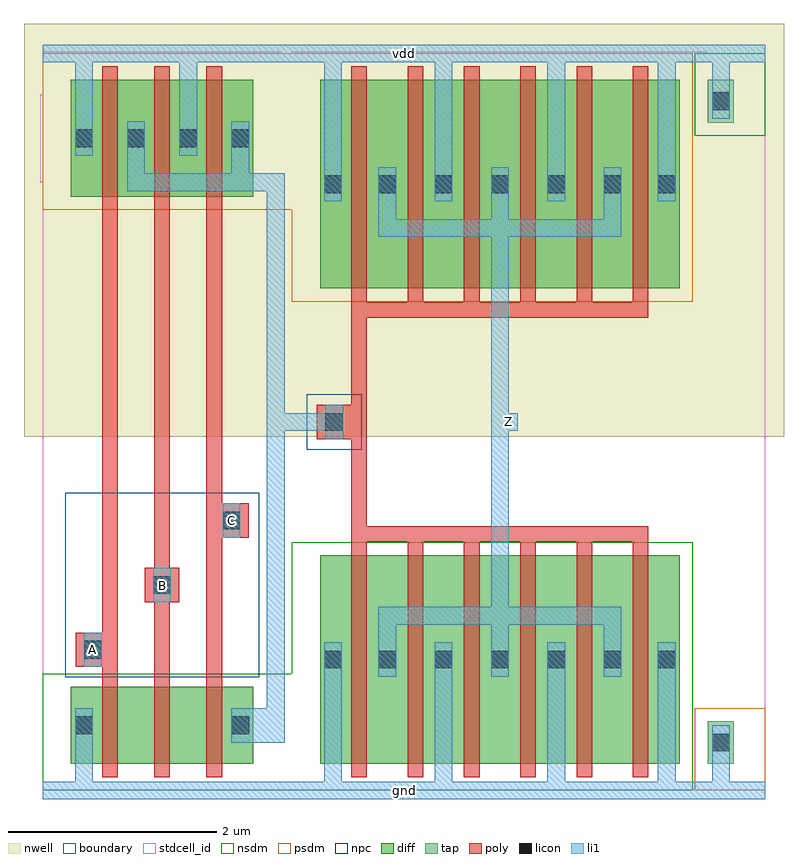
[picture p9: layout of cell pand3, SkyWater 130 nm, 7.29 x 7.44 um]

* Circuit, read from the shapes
.subckt pand3 A B C Z gnd vdd
XM1 pnand3_0/nmos_m1_w0_740_sli_dactive_3/D A gnd gnd sky130_fd_pr__nfet_01v8 w=0.74 l=0.15
XM2 pnand3_0/nmos_m1_w0_740_sactive_dactive_4/D B pnand3_0/nmos_m1_w0_740_sli_dactive_3/D gnd sky130_fd_pr__nfet_01v8 w=0.74 l=0.15
XM3 pdriver_2_1/A C pnand3_0/nmos_m1_w0_740_sactive_dactive_4/D gnd sky130_fd_pr__nfet_01v8 w=0.74 l=0.15
XM4 Z pdriver_2_1/A gnd gnd sky130_fd_pr__nfet_01v8 w=2 l=0.15 m=6
XM5 pdriver_2_1/A A vdd vdd sky130_fd_pr__pfet_01v8 w=1.12 l=0.15
XM6 vdd B pdriver_2_1/A vdd sky130_fd_pr__pfet_01v8 w=1.12 l=0.15
XM7 pdriver_2_1/A C vdd vdd sky130_fd_pr__pfet_01v8 w=1.12 l=0.15
XM8 Z pdriver_2_1/A vdd vdd sky130_fd_pr__pfet_01v8 w=2 l=0.15 m=6
.ends

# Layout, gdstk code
import gdstk
lib = gdstk.Library(unit=1e-6, precision=1e-09)
def R(c, l, rs):  # rectangles x0, y0, x1, y1
    for r in rs: c.add(gdstk.rectangle(r[:2], r[2:], *l))
def A(c, l, x, y, w, h, nx, ny, dx, dy):  # array of equal rectangles
    R(c, l, [(x+i*dx, y+j*dy, x+i*dx+w, y+j*dy+h) for i in range(nx) for j in range(ny)])
nwell = (64, 20)
diff = (65, 20)
tap = (65, 44)
poly = (66, 20)
licon = (66, 44)
li1 = (67, 20)
stdcell_id = (81, 4)
nsdm = (93, 44)
psdm = (94, 20)
npc = (95, 20)
boundary = (235, 4)

contact_11 = lib.new_cell('contact_11')
R(contact_11, nwell, [(-0.295,-0.255,0.545,0.585)])
R(contact_11, diff, [(0,0.02,0.25,0.31)])
R(contact_11, licon, [(0.04,0.08,0.21,0.25)])
R(contact_11, li1, [(0.04,0,0.21,0.33)])
R(contact_11, stdcell_id, [(-0.295,-0.255,0.545,0.585)])
R(contact_11, psdm, [(-0.125,-0.105,0.375,0.435)])
R(contact_11, boundary, [(-0.295,-0.255,0.545,0.585)])

pmos_m1_w1_120_sli_dli = lib.new_cell('pmos_m1_w1_120_sli_dli')
R(pmos_m1_w1_120_sli_dli, nwell, [(-0.27,-0.27,1.02,1.39)])
R(pmos_m1_w1_120_sli_dli, diff, [(0,0,0.75,1.12)])
R(pmos_m1_w1_120_sli_dli, poly, [(0.3,-0.13,0.45,1.25), (0.3,-0.13,0.45,1.25)])
R(pmos_m1_w1_120_sli_dli, li1, [(0.04,0.395,0.21,0.725), (0.54,0.395,0.71,0.725)])
R(pmos_m1_w1_120_sli_dli, stdcell_id, [(-0.27,-0.27,1.02,1.39)])
R(pmos_m1_w1_120_sli_dli, psdm, [(-0.125,-0.125,0.875,1.245)])
R(pmos_m1_w1_120_sli_dli, boundary, [(-0.27,-0.27,1.02,1.39)])
pmos_m1_w1_120_sli_dli.add(gdstk.Reference(contact_11, (0,0.395)))
pmos_m1_w1_120_sli_dli.add(gdstk.Reference(contact_11, (0.5,0.395)))
pmos_m1_w1_120_sli_dli.add(gdstk.Label('D', (0.625,0.56), layer=67, texttype=16))
pmos_m1_w1_120_sli_dli.add(gdstk.Label('S', (0.125,0.56), layer=67, texttype=16))
pmos_m1_w1_120_sli_dli.add(gdstk.Label('G', (0.375,0.56), layer=66, texttype=16))

contact_17 = lib.new_cell('contact_17')
R(contact_17, diff, [(0,0.02,0.25,0.31)])
R(contact_17, licon, [(0.04,0.08,0.21,0.25)])
R(contact_17, li1, [(0.04,0,0.21,0.33)])
R(contact_17, stdcell_id, [(-0.125,-0.105,0.375,0.435)])
R(contact_17, nsdm, [(-0.125,-0.105,0.375,0.435)])
R(contact_17, boundary, [(-0.125,-0.105,0.375,0.435)])

nmos_m1_w0_740_sli_dacti = lib.new_cell('nmos_m1_w0_740_sli_dactive')
R(nmos_m1_w0_740_sli_dacti, diff, [(0,0,0.75,0.74), (0.55,0.295,0.7,0.445)])
R(nmos_m1_w0_740_sli_dacti, poly, [(0.3,-0.13,0.45,0.87), (0.3,-0.13,0.45,0.87)])
R(nmos_m1_w0_740_sli_dacti, li1, [(0.04,0.205,0.21,0.535)])
R(nmos_m1_w0_740_sli_dacti, stdcell_id, [(-0.125,-0.13,0.875,0.87)])
R(nmos_m1_w0_740_sli_dacti, nsdm, [(-0.125,-0.125,0.875,0.865)])
R(nmos_m1_w0_740_sli_dacti, boundary, [(-0.125,-0.13,0.875,0.87)])
nmos_m1_w0_740_sli_dacti.add(gdstk.Reference(contact_17, (0,0.205)))
nmos_m1_w0_740_sli_dacti.add(gdstk.Label('D', (0.625,0.37), layer=65, texttype=16))
nmos_m1_w0_740_sli_dacti.add(gdstk.Label('S', (0.125,0.37), layer=67, texttype=16))
nmos_m1_w0_740_sli_dacti.add(gdstk.Label('G', (0.375,0.37), layer=66, texttype=16))

nmos_m1_w0_740_sactive_d = lib.new_cell('nmos_m1_w0_740_sactive_dactive')
R(nmos_m1_w0_740_sactive_d, diff, [(0,0,0.75,0.74), (0.05,0.295,0.2,0.445), (0.55,0.295,0.7,0.445)])
R(nmos_m1_w0_740_sactive_d, poly, [(0.3,-0.13,0.45,0.87), (0.3,-0.13,0.45,0.87)])
R(nmos_m1_w0_740_sactive_d, stdcell_id, [(-0.125,-0.13,0.875,0.87)])
R(nmos_m1_w0_740_sactive_d, nsdm, [(-0.125,-0.125,0.875,0.865)])
R(nmos_m1_w0_740_sactive_d, boundary, [(-0.125,-0.13,0.875,0.87)])
nmos_m1_w0_740_sactive_d.add(gdstk.Label('D', (0.625,0.37), layer=65, texttype=16))
nmos_m1_w0_740_sactive_d.add(gdstk.Label('S', (0.125,0.37), layer=65, texttype=16))
nmos_m1_w0_740_sactive_d.add(gdstk.Label('G', (0.375,0.37), layer=66, texttype=16))

c_nmos_m1_w0_740_sactive_d = lib.new_cell('nmos_m1_w0_740_sactive_dli')
R(c_nmos_m1_w0_740_sactive_d, diff, [(0,0,0.75,0.74), (0.05,0.295,0.2,0.445)])
R(c_nmos_m1_w0_740_sactive_d, poly, [(0.3,-0.13,0.45,0.87), (0.3,-0.13,0.45,0.87)])
R(c_nmos_m1_w0_740_sactive_d, li1, [(0.54,0.205,0.71,0.535)])
R(c_nmos_m1_w0_740_sactive_d, stdcell_id, [(-0.125,-0.13,0.875,0.87)])
R(c_nmos_m1_w0_740_sactive_d, nsdm, [(-0.125,-0.125,0.875,0.865)])
R(c_nmos_m1_w0_740_sactive_d, boundary, [(-0.125,-0.13,0.875,0.87)])
c_nmos_m1_w0_740_sactive_d.add(gdstk.Reference(contact_17, (0.5,0.205)))
c_nmos_m1_w0_740_sactive_d.add(gdstk.Label('D', (0.625,0.37), layer=67, texttype=16))
c_nmos_m1_w0_740_sactive_d.add(gdstk.Label('S', (0.125,0.37), layer=65, texttype=16))
c_nmos_m1_w0_740_sactive_d.add(gdstk.Label('G', (0.375,0.37), layer=66, texttype=16))

contact_12 = lib.new_cell('contact_12')
R(contact_12, poly, [(0,0,0.33,0.33)])
R(contact_12, licon, [(0.08,0.08,0.25,0.25)])
R(contact_12, li1, [(0.08,0,0.25,0.33)])
R(contact_12, stdcell_id, [(-0.1,-0.1,0.43,0.43)])
R(contact_12, npc, [(-0.1,-0.1,0.43,0.43)])
R(contact_12, boundary, [(-0.1,-0.1,0.43,0.43)])

pnand3 = lib.new_cell('pnand3')
R(pnand3, nwell, [(-0.18,3.395,2.57,7.355)])
A(pnand3, poly, 0.57, 1.125, 0.15, 4.44, 3, 1, 0.5, 0)
R(pnand3, poly, [(0.48,1.185,0.57,1.515), (1.07,1.805,1.145,2.135), (1.57,2.425,1.81,2.755)])
R(pnand3, li1, [(0,-0.085,2.39,0.085), (0.31,-0.085,0.48,0.46), (1.895,0.46,2.235,0.79), (2.15,0.46,2.32,5.835), (0.395,1.185,0.565,1.515), (1.06,1.805,1.23,2.135), (1.725,2.425,1.895,2.755), (0.81,5.75,0.98,5.92), (0.895,5.75,2.235,5.92), (1.81,5.75,1.98,5.92), (1.895,5.75,2.235,5.92), (2.15,5.75,2.32,5.92), (0.81,5.835,0.98,6.255), (1.81,5.835,1.98,6.255), (0.31,6.09,0.48,7.155), (1.31,6.09,1.48,7.155), (0,6.985,2.39,7.155)])
R(pnand3, stdcell_id, [(0,0,2.39,7.07), (0,0,2.39,7.07)])
R(pnand3, nsdm, [(0,0,2.39,1.12)])
R(pnand3, psdm, [(0,5.57,2.39,7.07)])
R(pnand3, npc, [(0.215,1.085,2.075,2.855)])
R(pnand3, boundary, [(0,0,2.39,7.07), (0,0,2.39,7.07)])
pnand3.add(gdstk.Reference(pmos_m1_w1_120_sli_dli, (0.27,5.695)))
pnand3.add(gdstk.Reference(pmos_m1_w1_120_sli_dli, (0.77,5.695)))
pnand3.add(gdstk.Reference(pmos_m1_w1_120_sli_dli, (1.27,5.695)))
pnand3.add(gdstk.Reference(nmos_m1_w0_740_sli_dacti, (0.27,0.255)))
pnand3.add(gdstk.Reference(nmos_m1_w0_740_sactive_d, (0.77,0.255)))
pnand3.add(gdstk.Reference(c_nmos_m1_w0_740_sactive_d, (1.27,0.255)))
pnand3.add(gdstk.Reference(contact_12, (0.315,1.185)))
pnand3.add(gdstk.Reference(contact_12, (0.98,1.805)))
pnand3.add(gdstk.Reference(contact_12, (1.645,2.425)))
pnand3.add(gdstk.Label('vdd', (1.195,7.07), layer=67, texttype=16))
pnand3.add(gdstk.Label('Z', (2.235,5.835), layer=67, texttype=16))
pnand3.add(gdstk.Label('C', (1.81,2.59), layer=67, texttype=16))
pnand3.add(gdstk.Label('B', (1.145,1.97), layer=67, texttype=16))
pnand3.add(gdstk.Label('gnd', (1.195,0), layer=67, texttype=16))
pnand3.add(gdstk.Label('A', (0.48,1.35), layer=67, texttype=16))

pmos_m6_w2_000_sli_dli_d = lib.new_cell('pmos_m6_w2_000_sli_dli_da_p')
R(pmos_m6_w2_000_sli_dli_d, nwell, [(-0.27,-0.27,3.72,2.27)])
R(pmos_m6_w2_000_sli_dli_d, diff, [(0,0,3.45,2)])
A(pmos_m6_w2_000_sli_dli_d, poly, 0.3, -0.13, 0.15, 2.26, 6, 1, 0.54, 0)
R(pmos_m6_w2_000_sli_dli_d, poly, [(0.3,-0.28,3.15,-0.13)])
A(pmos_m6_w2_000_sli_dli_d, li1, 0.56, 0.58, 0.17, 0.42, 3, 1, 1.08, 0)
R(pmos_m6_w2_000_sli_dli_d, li1, [(0.56,0.495,2.89,0.665), (0.04,0.835,0.21,1.165), (1.1,0.835,1.27,1.165), (2.18,0.835,2.35,1.165), (3.24,0.835,3.41,1.165)])
R(pmos_m6_w2_000_sli_dli_d, stdcell_id, [(-0.27,-0.27,3.72,2.27)])
R(pmos_m6_w2_000_sli_dli_d, psdm, [(-0.125,-0.125,3.575,2.125)])
R(pmos_m6_w2_000_sli_dli_d, boundary, [(-0.27,-0.27,3.72,2.27)])
pmos_m6_w2_000_sli_dli_d.add(gdstk.Reference(contact_11, (0,0.835)))
pmos_m6_w2_000_sli_dli_d.add(gdstk.Reference(contact_11, (0.52,0.835)))
pmos_m6_w2_000_sli_dli_d.add(gdstk.Reference(contact_11, (1.06,0.835)))
pmos_m6_w2_000_sli_dli_d.add(gdstk.Reference(contact_11, (1.6,0.835)))
pmos_m6_w2_000_sli_dli_d.add(gdstk.Reference(contact_11, (2.14,0.835)))
pmos_m6_w2_000_sli_dli_d.add(gdstk.Reference(contact_11, (2.68,0.835)))
pmos_m6_w2_000_sli_dli_d.add(gdstk.Reference(contact_11, (3.2,0.835)))
pmos_m6_w2_000_sli_dli_d.add(gdstk.Label('D', (1.725,0.58), layer=67, texttype=16))
pmos_m6_w2_000_sli_dli_d.add(gdstk.Label('S', (1.185,1), layer=67, texttype=16))
pmos_m6_w2_000_sli_dli_d.add(gdstk.Label('S', (3.325,1), layer=67, texttype=16))
pmos_m6_w2_000_sli_dli_d.add(gdstk.Label('S', (0.125,1), layer=67, texttype=16))
pmos_m6_w2_000_sli_dli_d.add(gdstk.Label('S', (2.265,1), layer=67, texttype=16))
pmos_m6_w2_000_sli_dli_d.add(gdstk.Label('G', (1.725,-0.205), layer=66, texttype=16))

nmos_m6_w2_000_sli_dli_d = lib.new_cell('nmos_m6_w2_000_sli_dli_da_p')
R(nmos_m6_w2_000_sli_dli_d, diff, [(0,0,3.45,2)])
A(nmos_m6_w2_000_sli_dli_d, poly, 0.3, -0.13, 0.15, 2.26, 6, 1, 0.54, 0)
R(nmos_m6_w2_000_sli_dli_d, poly, [(0.3,2.13,3.15,2.28)])
A(nmos_m6_w2_000_sli_dli_d, li1, 0.56, 1, 0.17, 0.42, 3, 1, 1.08, 0)
R(nmos_m6_w2_000_sli_dli_d, li1, [(0.04,0.835,0.21,1.165), (1.1,0.835,1.27,1.165), (2.18,0.835,2.35,1.165), (3.24,0.835,3.41,1.165), (0.56,1.335,2.89,1.505)])
R(nmos_m6_w2_000_sli_dli_d, stdcell_id, [(-0.125,-0.13,3.575,2.13)])
R(nmos_m6_w2_000_sli_dli_d, nsdm, [(-0.125,-0.125,3.575,2.125)])
R(nmos_m6_w2_000_sli_dli_d, boundary, [(-0.125,-0.13,3.575,2.13)])
nmos_m6_w2_000_sli_dli_d.add(gdstk.Reference(contact_17, (0,0.835)))
nmos_m6_w2_000_sli_dli_d.add(gdstk.Reference(contact_17, (0.52,0.835)))
nmos_m6_w2_000_sli_dli_d.add(gdstk.Reference(contact_17, (1.06,0.835)))
nmos_m6_w2_000_sli_dli_d.add(gdstk.Reference(contact_17, (1.6,0.835)))
nmos_m6_w2_000_sli_dli_d.add(gdstk.Reference(contact_17, (2.14,0.835)))
nmos_m6_w2_000_sli_dli_d.add(gdstk.Reference(contact_17, (2.68,0.835)))
nmos_m6_w2_000_sli_dli_d.add(gdstk.Reference(contact_17, (3.2,0.835)))
nmos_m6_w2_000_sli_dli_d.add(gdstk.Label('D', (1.725,1.42), layer=67, texttype=16))
nmos_m6_w2_000_sli_dli_d.add(gdstk.Label('S', (1.185,1), layer=67, texttype=16))
nmos_m6_w2_000_sli_dli_d.add(gdstk.Label('S', (3.325,1), layer=67, texttype=16))
nmos_m6_w2_000_sli_dli_d.add(gdstk.Label('S', (0.125,1), layer=67, texttype=16))
nmos_m6_w2_000_sli_dli_d.add(gdstk.Label('S', (2.265,1), layer=67, texttype=16))
nmos_m6_w2_000_sli_dli_d.add(gdstk.Label('G', (1.725,2.205), layer=66, texttype=16))

contact_24 = lib.new_cell('contact_24')
R(contact_24, nwell, [(-0.295,-0.215,0.545,0.625)])
R(contact_24, tap, [(0,0,0.25,0.41)])
R(contact_24, licon, [(0.04,0.12,0.21,0.29)])
R(contact_24, li1, [(0.04,0.04,0.21,0.37)])
R(contact_24, stdcell_id, [(-0.295,-0.215,0.545,0.625)])
R(contact_24, nsdm, [(-0.125,-0.125,0.375,0.535)])
R(contact_24, boundary, [(-0.295,-0.215,0.545,0.625)])

contact_25 = lib.new_cell('contact_25')
R(contact_25, tap, [(0,0,0.25,0.41)])
R(contact_25, licon, [(0.04,0.12,0.21,0.29)])
R(contact_25, li1, [(0.04,0.04,0.21,0.37)])
R(contact_25, stdcell_id, [(-0.125,-0.125,0.375,0.535)])
R(contact_25, psdm, [(-0.125,-0.125,0.375,0.535)])
R(contact_25, boundary, [(-0.125,-0.125,0.375,0.535)])

pinv_8 = lib.new_cell('pinv_8')
R(pinv_8, nwell, [(-0.18,3.395,4.72,7.355)])
R(pinv_8, poly, [(0.57,2.535,0.72,4.535), (0.405,3.37,0.57,3.7)])
R(pinv_8, li1, [(0,-0.085,4.54,0.085), (0.31,-0.085,0.48,1.09), (1.37,-0.085,1.54,1.09), (2.45,-0.085,2.62,1.09), (3.51,-0.085,3.68,1.09), (4.03,0,4.2,0.46), (1.91,1.59,2.08,5.48), (0.32,3.37,0.49,3.7), (1.995,3.45,2.165,3.62), (0.31,5.65,0.48,7.155), (1.37,5.65,1.54,7.155), (2.45,5.65,2.62,7.155), (3.51,5.65,3.68,7.155), (4.03,6.61,4.2,7.07), (0,6.985,4.54,7.155)])
R(pinv_8, stdcell_id, [(0,0,4.54,7.07), (0,0,4.54,7.07)])
R(pinv_8, nsdm, [(0,0,3.845,2.38), (3.865,6.28,4.54,7.07)])
R(pinv_8, psdm, [(3.865,0,4.54,0.79), (0,4.69,3.845,7.07)])
R(pinv_8, boundary, [(0,0,4.54,7.07), (0,0,4.54,7.07)])
pinv_8.add(gdstk.Reference(pmos_m6_w2_000_sli_dli_d, (0.27,4.815)))
pinv_8.add(gdstk.Reference(nmos_m6_w2_000_sli_dli_d, (0.27,0.255)))
pinv_8.add(gdstk.Reference(contact_24, (3.99,6.405)))
pinv_8.add(gdstk.Reference(contact_25, (3.99,0.255)))
pinv_8.add(gdstk.Reference(contact_12, (0.24,3.37)))
pinv_8.add(gdstk.Label('vdd', (2.27,7.07), layer=67, texttype=16))
pinv_8.add(gdstk.Label('gnd', (2.27,0), layer=67, texttype=16))
pinv_8.add(gdstk.Label('Z', (2.08,3.535), layer=67, texttype=16))
pinv_8.add(gdstk.Label('A', (0.405,3.535), layer=67, texttype=16))

pdriver_2 = lib.new_cell('pdriver_2')
R(pdriver_2, nwell, [(-0.18,3.395,4.72,7.355)])
R(pdriver_2, li1, [(0,-0.085,4.54,0.085), (0.32,3.37,0.49,3.7), (1.995,3.45,2.165,3.62), (0,6.985,4.54,7.155)])
R(pdriver_2, stdcell_id, [(0,0,4.54,7.07), (0,0,4.54,7.07)])
R(pdriver_2, boundary, [(0,0,4.54,7.07), (0,0,4.54,7.07)])
pdriver_2.add(gdstk.Reference(pinv_8, (0,0)))
pdriver_2.add(gdstk.Label('vdd', (2.27,7.07), layer=67, texttype=16))
pdriver_2.add(gdstk.Label('gnd', (2.27,0), layer=67, texttype=16))
pdriver_2.add(gdstk.Label('Z', (2.08,3.535), layer=67, texttype=16))
pdriver_2.add(gdstk.Label('A', (0.405,3.535), layer=67, texttype=16))

pand3 = lib.new_cell('pand3')
R(pand3, li1, [(0,-0.085,6.93,0.085), (0.395,1.185,0.565,1.515), (1.06,1.805,1.23,2.135), (1.725,2.425,1.895,2.755), (2.15,3.45,2.32,3.62), (2.235,3.45,2.795,3.62), (4.385,3.45,4.555,3.62), (2.15,3.535,2.32,5.835), (0,6.985,6.93,7.155)])
R(pand3, stdcell_id, [(0,0,6.93,7.07), (0,0,6.93,7.07)])
R(pand3, boundary, [(0,0,6.93,7.07), (0,0,6.93,7.07)])
pand3.add(gdstk.Reference(pnand3, (0,0)))
pand3.add(gdstk.Reference(pdriver_2, (2.39,0)))
pand3.add(gdstk.Label('vdd', (3.465,7.07), layer=67, texttype=16))
pand3.add(gdstk.Label('Z', (4.47,3.535), layer=67, texttype=16))
pand3.add(gdstk.Label('C', (1.81,2.59), layer=67, texttype=16))
pand3.add(gdstk.Label('B', (1.145,1.97), layer=67, texttype=16))
pand3.add(gdstk.Label('gnd', (3.465,0), layer=67, texttype=16))
pand3.add(gdstk.Label('A', (0.48,1.35), layer=67, texttype=16))

lib.write_gds('pand3.gds')
